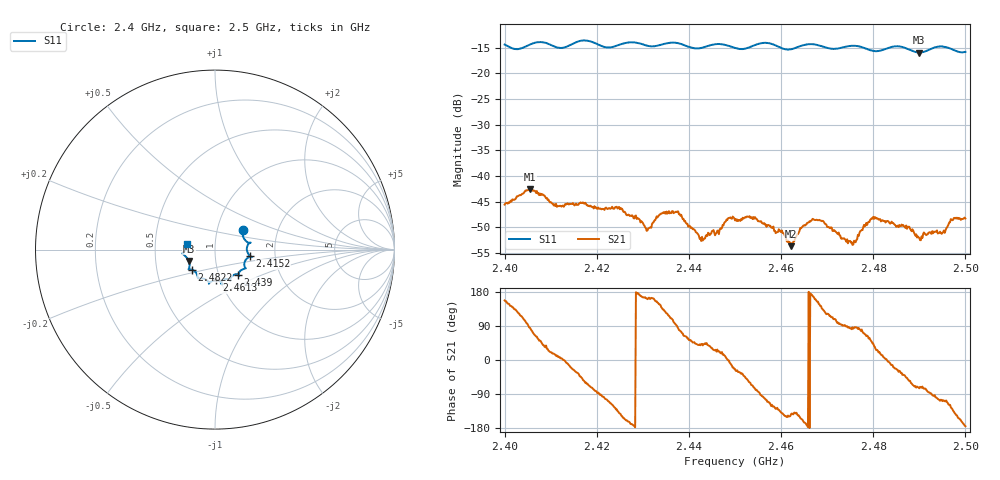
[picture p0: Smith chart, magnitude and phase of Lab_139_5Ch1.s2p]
# Hz S RI R 50
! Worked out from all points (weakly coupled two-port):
!   601 points, 2.4 GHz to 2.5 GHz, reference 50 ohm
!   highest |S21| = -42.58 dB at 2.4055 GHz (marker M1); lowest = -53.7 dB at 2.4622 GHz (marker M2)
!   lowest |S11| = -15.9 dB at 2.49 GHz (marker M3), VSWR 1.38, Z = 36.9 - j4.84 ohm
!   |S11| at or under -10 dB: start of sweep to end of sweep
!   S12 and S22 are empty: the file has one direction only
!   S11 on the Smith chart (normalised r, x): 2.4 GHz: 1.33, +0.31; 2.4152 GHz: 1.48, -0.11; 2.439 GHz: 1.24, -0.36; 2.4613 GHz: 0.96, -0.34; 2.4822 GHz: 0.76, -0.17; 2.5 GHz: 0.72, +0.05
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2.4e9  0.1554 0.1114  -0.00483 0.00203  0 0  0 0
2.4055e9  0.1875 0.038  0.000649 0.0074  0 0  0 0
2.411167e9  0.1797 0.0185  0.00523 0.00104  0 0  0 0
2.415167e9  0.1949 -0.0361  0.00454 -0.00243  0 0  0 0
2.416667e9  0.2046 -0.042  0.00375 -0.00394  0 0  0 0
2.425e9  0.1654 -0.0957  -0.00368 -0.00297  0 0  0 0
2.431e9  0.1478 -0.113  -0.00277 0.000982  0 0  0 0
2.433333e9  0.1324 -0.1325  -0.00352 0.002  0 0  0 0
2.437167e9  0.1351 -0.1461  -0.000237 0.00447  0 0  0 0
2.439e9  0.1278 -0.139  0.0016 0.00324  0 0  0 0
2.442833e9  0.0916 -0.1525  0.00188 0.00172  0 0  0 0
2.45e9  0.0686 -0.1634  0.00337 -0.00148  0 0  0 0
2.454167e9  0.0349 -0.1847  0.00112 -0.00366  0 0  0 0
2.461333e9  0.00774 -0.1708  -0.00199 -0.00112  0 0  0 0
2.462167e9  -0.00484 -0.1724  -0.00164 -0.00125  0 0  0 0
2.466667e9  -0.0338 -0.1901  -0.00366 0.000489  0 0  0 0
2.475667e9  -0.0934 -0.1611  0.000269 0.00212  0 0  0 0
2.4795e9  -0.1032 -0.1323  0.0024 0.00294  0 0  0 0
2.482167e9  -0.1282 -0.1118  0.00361 0.000515  0 0  0 0
2.483333e9  -0.1395 -0.1103  0.00357 -0.000315  0 0  0 0
2.49e9  -0.1466 -0.0639  0.000653 -0.00239  0 0  0 0
2.5e9  -0.1586 0.0337  -0.00382 -0.000353  0 0  0 0
